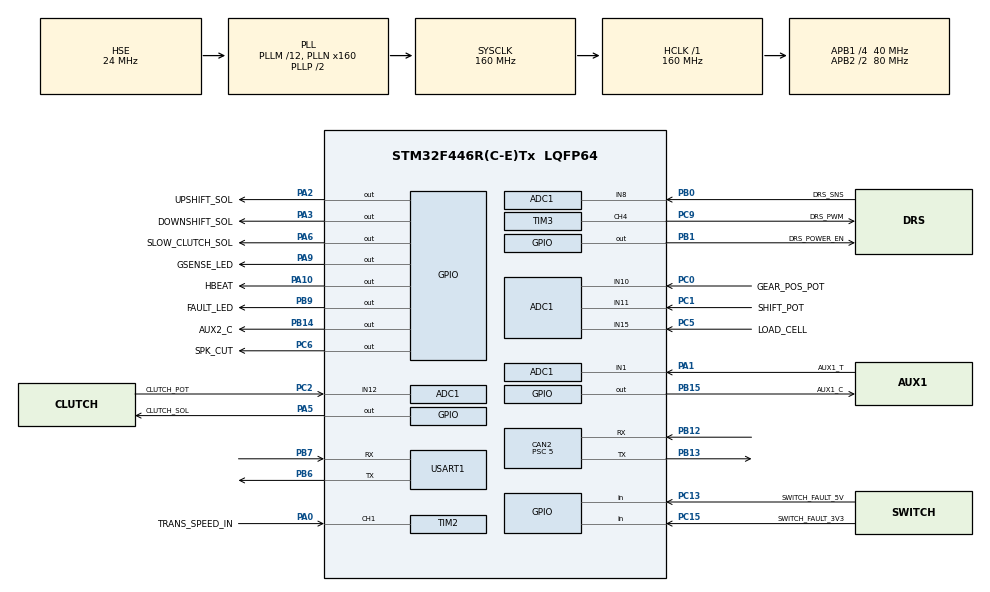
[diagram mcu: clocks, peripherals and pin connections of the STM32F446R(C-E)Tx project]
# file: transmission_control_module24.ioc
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ADC1.Channel-4\#ChannelRegularConversion=ADC_CHANNEL_8
ADC1.Channel-5\#ChannelRegularConversion=ADC_CHANNEL_10
ADC1.Channel-6\#ChannelRegularConversion=ADC_CHANNEL_11
ADC1.Channel-7\#ChannelRegularConversion=ADC_CHANNEL_12
ADC1.Channel-8\#ChannelRegularConversion=ADC_CHANNEL_15
ADC1.ContinuousConvMode=ENABLE
ADC1.DMAContinuousRequests=ENABLE
ADC1.NbrOfConversion=5
ADC1.NbrOfConversionFlag=1
ADC1.Rank-4\#ChannelRegularConversion=1
ADC1.Rank-5\#ChannelRegularConversion=2
ADC1.Rank-6\#ChannelRegularConversion=3
ADC1.Rank-7\#ChannelRegularConversion=4
ADC1.Rank-8\#ChannelRegularConversion=5
ADC1.SamplingTime-4\#ChannelRegularConversion=ADC_SAMPLETIME_480CYCLES
ADC1.SamplingTime-5\#ChannelRegularConversion=ADC_SAMPLETIME_480CYCLES
ADC1.SamplingTime-6\#ChannelRegularConversion=ADC_SAMPLETIME_480CYCLES
ADC1.SamplingTime-7\#ChannelRegularConversion=ADC_SAMPLETIME_480CYCLES
ADC1.SamplingTime-8\#ChannelRegularConversion=ADC_SAMPLETIME_480CYCLES
ADC1.ScanConvMode=ENABLE
ADC1.master=1
CAN2.ABOM=ENABLE
CAN2.AWUM=ENABLE
CAN2.BS1=CAN_BS1_6TQ
CAN2.CalculateBaudRate=1000000
CAN2.CalculateTimeBit=1000
CAN2.CalculateTimeQuantum=125.0
CAN2.Prescaler=5
Dma.ADC1.0.Direction=DMA_PERIPH_TO_MEMORY
Dma.ADC1.0.FIFOMode=DMA_FIFOMODE_DISABLE
Dma.ADC1.0.Instance=DMA2_Stream0
Dma.ADC1.0.MemDataAlignment=DMA_MDATAALIGN_HALFWORD
Dma.ADC1.0.MemInc=DMA_MINC_ENABLE
Dma.ADC1.0.Mode=DMA_CIRCULAR
Dma.ADC1.0.PeriphDataAlignment=DMA_PDATAALIGN_HALFWORD
Dma.ADC1.0.PeriphInc=DMA_PINC_DISABLE
Dma.ADC1.0.Priority=DMA_PRIORITY_LOW
Dma.Request0=ADC1
Dma.Request1=TIM2_CH1
Dma.TIM2_CH1.1.Direction=DMA_PERIPH_TO_MEMORY
Dma.TIM2_CH1.1.FIFOMode=DMA_FIFOMODE_DISABLE
Dma.TIM2_CH1.1.Instance=DMA1_Stream5
Dma.TIM2_CH1.1.MemDataAlignment=DMA_MDATAALIGN_WORD
Dma.TIM2_CH1.1.MemInc=DMA_MINC_ENABLE
Dma.TIM2_CH1.1.Mode=DMA_CIRCULAR
Dma.TIM2_CH1.1.PeriphDataAlignment=DMA_PDATAALIGN_WORD
Dma.TIM2_CH1.1.PeriphInc=DMA_PINC_DISABLE
Dma.TIM2_CH1.1.Priority=DMA_PRIORITY_LOW
FREERTOS.Tasks01=main_task,0,1024,task_MainTask,Default,NULL,Dynamic,NULL,NULL;buffer_handling,1,1024,task_BufferHandling,Default,NULL,Dynamic,NULL,NULL
FREERTOS.configENABLE_FPU=1
FREERTOS.configGENERATE_RUN_TIME_STATS=1
FREERTOS.configMINIMAL_STACK_SIZE=256
FREERTOS.configUSE_NEWLIB_REENTRANT=1
FREERTOS.configUSE_STATS_FORMATTING_FUNCTIONS=1
Mcu.Family=STM32F4
Mcu.Name=STM32F446R(C-E)Tx
Mcu.Package=LQFP64
NVIC.CAN2_RX0_IRQn=true\:5\:0\:false\:false\:true\:true\:true\:true\:true
NVIC.CAN2_RX1_IRQn=true\:5\:0\:false\:false\:true\:true\:true\:true\:true
NVIC.CAN2_TX_IRQn=true\:5\:0\:false\:false\:true\:true\:true\:true\:true
NVIC.DMA1_Stream5_IRQn=true\:5\:0\:false\:false\:true\:true\:false\:true\:true
NVIC.DMA2_Stream0_IRQn=true\:5\:0\:false\:false\:true\:true\:false\:true\:true
NVIC.PriorityGroup=NVIC_PRIORITYGROUP_4
NVIC.TIM1_UP_TIM10_IRQn=true\:5\:0\:false\:false\:true\:true\:true\:true\:true
NVIC.TIM6_DAC_IRQn=true\:15\:0\:false\:false\:true\:false\:false\:true\:true
NVIC.TimeBase=TIM6_DAC_IRQn
NVIC.TimeBaseIP=TIM6
PA0-WKUP.GPIO_Label=TRANS_SPEED_IN
PA0-WKUP.Signal=S_TIM2_CH1_ETR
PA1.GPIO_Label=AUX1_T
PA1.Signal=ADCx_IN1
PA10.GPIO_Label=HBEAT
PA10.Signal=GPIO_Output
PA2.GPIO_Label=UPSHIFT_SOL
PA2.Signal=GPIO_Output
PA3.GPIO_Label=DOWNSHIFT_SOL
PA3.Signal=GPIO_Output
PA5.GPIO_Label=CLUTCH_SOL
PA5.Signal=GPIO_Output
PA6.GPIO_Label=SLOW_CLUTCH_SOL
PA6.Signal=GPIO_Output
PA9.GPIO_Label=GSENSE_LED
PA9.Signal=GPIO_Output
PB0.GPIO_Label=DRS_SNS
PB0.Signal=ADCx_IN8
PB1.GPIO_Label=DRS_POWER_EN
PB1.Signal=GPIO_Output
PB12.Mode=CAN_Activate
PB12.Signal=CAN2_RX
PB13.Mode=CAN_Activate
PB13.Signal=CAN2_TX
PB14.GPIO_Label=AUX2_C
PB14.Signal=GPIO_Output
PB15.GPIO_Label=AUX1_C
PB15.Signal=GPIO_Output
PB6.Mode=Asynchronous
PB6.Signal=USART1_TX
PB7.Mode=Asynchronous
PB7.Signal=USART1_RX
PB9.GPIO_Label=FAULT_LED
PB9.Signal=GPIO_Output
PC0.GPIO_Label=GEAR_POS_POT
PC0.Signal=ADCx_IN10
PC1.GPIO_Label=SHIFT_POT
PC1.Signal=ADCx_IN11
PC13.GPIO_Label=SWITCH_FAULT_5V
PC13.Signal=GPIO_Input
PC15-OSC32_OUT.GPIO_Label=SWITCH_FAULT_3V3
PC15-OSC32_OUT.Signal=GPIO_Input
PC2.GPIO_Label=CLUTCH_POT
PC2.Signal=ADCx_IN12
PC5.GPIO_Label=LOAD_CELL
PC5.Signal=ADCx_IN15
PC6.GPIO_Label=SPK_CUT
PC6.Signal=GPIO_Output
PC9.GPIO_Label=DRS_PWM
PC9.Signal=S_TIM3_CH4
PH0-OSC_IN.Mode=HSE-External-Clock-Source
PH0-OSC_IN.Signal=RCC_OSC_IN
PH1-OSC_OUT.Mode=HSE-External-Clock-Source
PH1-OSC_OUT.Signal=RCC_OSC_OUT
ProjectManager.HeapSize=0x200
ProjectManager.StackSize=0x400
ProjectManager.TargetToolchain=STM32CubeIDE
RCC.AHBFreq_Value=160000000
RCC.APB1CLKDivider=RCC_HCLK_DIV4
RCC.APB1Freq_Value=40000000
RCC.APB1TimFreq_Value=80000000
RCC.APB2CLKDivider=RCC_HCLK_DIV2
RCC.APB2Freq_Value=80000000
RCC.APB2TimFreq_Value=160000000
RCC.CortexFreq_Value=160000000
RCC.HCLKFreq_Value=160000000
RCC.HSE_VALUE=24000000
RCC.PLLM=12
RCC.PLLN=160
RCC.PLLSourceVirtual=RCC_PLLSOURCE_HSE
RCC.SYSCLKFreq_VALUE=160000000
RCC.SYSCLKSource=RCC_SYSCLKSOURCE_PLLCLK
RCC.USBFreq_Value=160000000
RCC.VCOOutputFreq_Value=320000000
SH.ADCx_IN1.0=ADC1_IN1,IN1
SH.ADCx_IN10.0=ADC1_IN10,IN10
SH.ADCx_IN11.0=ADC1_IN11,IN11
SH.ADCx_IN12.0=ADC1_IN12,IN12
SH.ADCx_IN15.0=ADC1_IN15,IN15
SH.ADCx_IN8.0=ADC1_IN8,IN8
SH.S_TIM2_CH1_ETR.0=TIM2_CH1,Input_Capture1_from_TI1
SH.S_TIM3_CH4.0=TIM3_CH4,PWM Generation4 CH4
TIM11.Prescaler=16000-1
TIM2.Channel-Input_Capture1_from_TI1=TIM_CHANNEL_1
TIM2.Period=0xffffffff
TIM2.Prescaler=8-1
TIM3.Channel-PWM\ Generation4\ CH4=TIM_CHANNEL_4
TIM3.Period=29999
TIM3.Prescaler=8-1
USART1.VirtualMode=VM_ASYNC
VP_FREERTOS_VS_CMSIS_V1.Mode=CMSIS_V1
VP_SYS_VS_tim6.Mode=TIM6
VP_TIM10_VS_ClockSourceINT.Mode=Enable_Timer
VP_TIM11_VS_ClockSourceINT.Mode=Enable_Timer
VP_TIM2_VS_ClockSourceINT.Mode=Internal
board=custom

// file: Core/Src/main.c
/* USER CODE BEGIN Header */
/**
  ******************************************************************************
  * @file           : main.c
  * @brief          : Main program body
  ******************************************************************************
  * @attention
  *
  * Copyright (c) 2022 STMicroelectronics.
  * All rights reserved.
  *
  * This software is licensed under terms that can be found in the LICENSE file
  * in the root directory of this software component.
  * If no LICENSE file comes with this software, it is provided AS-IS.
  *
  ******************************************************************************
  */
/* USER CODE END Header */
#include "main.h"
#include "cmsis_os.h"

/* USER CODE BEGIN Includes */
#include "gopher_sense.h"
#include "main_task.h"
#include "utils.h"
#include <stdbool.h>
#include "pulse_sensor.h"
#include "drs.h"
/* USER CODE END Includes */

/* USER CODE BEGIN PD */

#define IC_TIMER &htim2
#define HDMA_CHANNEL 1
#define IC_CONVERSION_RATIO 2.0f //(X pulses / 1 sec) * (60 sec / 1 min) * (1 rev / 30 pulses) = RPM, so conversion ration would be 60/30 = 2.
#define DMA_STOPPED_TIMEOUT_MS 1000
#define USE_VAR_SS true
#define IC_LOW_SAMPLES 100
#define IC_HIGH_SAMPLES 1000
#define MIN_SAMPLES 5

/* USER CODE END PD */

ADC_HandleTypeDef hadc1;
DMA_HandleTypeDef hdma_adc1;

CAN_HandleTypeDef hcan2;

TIM_HandleTypeDef htim2;
TIM_HandleTypeDef htim3;
TIM_HandleTypeDef htim10;
TIM_HandleTypeDef htim11;
DMA_HandleTypeDef hdma_tim2_ch1;

UART_HandleTypeDef huart1;

osThreadId main_taskHandle;
osThreadId buffer_handlingHandle;

void SystemClock_Config(void);
static void MX_GPIO_Init(void);
static void MX_DMA_Init(void);
static void MX_ADC1_Init(void);
static void MX_TIM10_Init(void);
static void MX_USART1_UART_Init(void);
static void MX_TIM2_Init(void);
static void MX_TIM11_Init(void);
static void MX_CAN2_Init(void);
static void MX_TIM3_Init(void);
void task_MainTask(void const * argument);
void task_BufferHandling(void const * argument);

/* USER CODE BEGIN 0 */
#ifdef __GNUC__
#define PUTCHAR_PROTOTYPE int __io_putchar(int ch)
#else
#define PUTCHAR_PROTOTYPE int fputc(int ch, FILE *f)
#endif

PUTCHAR_PROTOTYPE
{
  HAL_UART_Transmit(&huart1, (uint8_t *)&ch, 1, HAL_MAX_DELAY);
  return ch;
}

void configureTimerForRunTimeStats(void)
{
	__HAL_TIM_SET_COUNTER(&htim11, 0);
}

unsigned long getRunTimeCounterValue(void)
{
	return (__HAL_TIM_GET_COUNTER(&htim11));
}
/* USER CODE END 0 */

int main(void)
{

  /* MCU Configuration--------------------------------------------------------*/

  /* Reset of all peripherals, Initializes the Flash interface and the Systick. */
  HAL_Init();

  /* Configure the system clock */
  SystemClock_Config();

  /* USER CODE BEGIN SysInit */
  MX_DMA_Init();
  /* USER CODE END SysInit */

  /* Initialize all configured peripherals */
  MX_GPIO_Init();
  MX_DMA_Init();
  MX_ADC1_Init();
  MX_TIM10_Init();
  MX_USART1_UART_Init();
  MX_TIM2_Init();
  MX_TIM11_Init();
  MX_CAN2_Init();
  MX_TIM3_Init();
  /* USER CODE BEGIN 2 */
  HAL_TIM_Base_Start(&htim11);
  //HAL_TIM_Base_Start(&htim2);
  init(&hcan2);
  gsense_init(&hcan2, &hadc1, NULL/*&hadc2*/, NULL, &htim10, GSENSE_LED_GPIO_Port, GSENSE_LED_Pin);
  setup_pulse_sensor_vss(
		  IC_TIMER,
 		  TIM_CHANNEL_1,
 		  IC_CONVERSION_RATIO,
 		  &(tcm_data.trans_speed),
		  DMA_STOPPED_TIMEOUT_MS,
 		  USE_VAR_SS,
 		  IC_LOW_SAMPLES,
 		  IC_HIGH_SAMPLES,
		  MIN_SAMPLES,
		  64
   );

  //DRS Setup:
  init_DRS_servo(&htim3, TIM_CHANNEL_4);

  // Set initial output states to low because of strange behavior when this doesn't happen and pins go through the 3V3 to 5V converter.
  HAL_GPIO_WritePin(SPK_CUT_GPIO_Port, SPK_CUT_Pin, 1);
  HAL_GPIO_WritePin(CLUTCH_SOL_GPIO_Port, CLUTCH_SOL_Pin, 0);
  HAL_GPIO_WritePin(SLOW_CLUTCH_SOL_GPIO_Port, SLOW_CLUTCH_SOL_Pin, 0);
  HAL_GPIO_WritePin(DOWNSHIFT_SOL_GPIO_Port, DOWNSHIFT_SOL_Pin, 0);
  HAL_GPIO_WritePin(UPSHIFT_SOL_GPIO_Port, UPSHIFT_SOL_Pin, 0);
  HAL_GPIO_WritePin(FAULT_LED_GPIO_Port, FAULT_LED_Pin, 0);
  HAL_GPIO_WritePin(AUX1_C_GPIO_Port, AUX1_C_Pin, 0);
  HAL_GPIO_WritePin(AUX2_C_GPIO_Port, AUX2_C_Pin, 0);
  HAL_GPIO_WritePin(AUX1_T_GPIO_Port, AUX1_T_Pin, 0);

  /* USER CODE END 2 */

  /* Create the thread(s) */
  /* definition and creation of main_task */
  osThreadDef(main_task, task_MainTask, osPriorityNormal, 0, 1024);
  main_taskHandle = osThreadCreate(osThread(main_task), NULL);

  /* definition and creation of buffer_handling */
  osThreadDef(buffer_handling, task_BufferHandling, osPriorityAboveNormal, 0, 1024);
  buffer_handlingHandle = osThreadCreate(osThread(buffer_handling), NULL);

  /* Start scheduler */
  osKernelStart();

  /* We should never get here as control is now taken by the scheduler */
  /* Infinite loop */
  while (1)
  {

  }
}

void SystemClock_Config(void)
{
  RCC_OscInitTypeDef RCC_OscInitStruct = {0};
  RCC_ClkInitTypeDef RCC_ClkInitStruct = {0};

  /** Configure the main internal regulator output voltage
  */
  __HAL_RCC_PWR_CLK_ENABLE();
  __HAL_PWR_VOLTAGESCALING_CONFIG(PWR_REGULATOR_VOLTAGE_SCALE1);

  /** Initializes the RCC Oscillators according to the specified parameters
  * in the RCC_OscInitTypeDef structure.
  */
  RCC_OscInitStruct.OscillatorType = RCC_OSCILLATORTYPE_HSE;
  RCC_OscInitStruct.HSEState = RCC_HSE_BYPASS;
  RCC_OscInitStruct.PLL.PLLState = RCC_PLL_ON;
  RCC_OscInitStruct.PLL.PLLSource = RCC_PLLSOURCE_HSE;
  RCC_OscInitStruct.PLL.PLLM = 12;
  RCC_OscInitStruct.PLL.PLLN = 160;
  RCC_OscInitStruct.PLL.PLLP = RCC_PLLP_DIV2;
  RCC_OscInitStruct.PLL.PLLQ = 2;
  RCC_OscInitStruct.PLL.PLLR = 2;
  if (HAL_RCC_OscConfig(&RCC_OscInitStruct) != HAL_OK)
  {
    Error_Handler();
  }

  /** Initializes the CPU, AHB and APB buses clocks
  */
  RCC_ClkInitStruct.ClockType = RCC_CLOCKTYPE_HCLK|RCC_CLOCKTYPE_SYSCLK
                              |RCC_CLOCKTYPE_PCLK1|RCC_CLOCKTYPE_PCLK2;
  RCC_ClkInitStruct.SYSCLKSource = RCC_SYSCLKSOURCE_PLLCLK;
  RCC_ClkInitStruct.AHBCLKDivider = RCC_SYSCLK_DIV1;
  RCC_ClkInitStruct.APB1CLKDivider = RCC_HCLK_DIV4;
  RCC_ClkInitStruct.APB2CLKDivider = RCC_HCLK_DIV2;

  if (HAL_RCC_ClockConfig(&RCC_ClkInitStruct, FLASH_LATENCY_5) != HAL_OK)
  {
    Error_Handler();
  }
}

static void MX_ADC1_Init(void)
{

  ADC_ChannelConfTypeDef sConfig = {0};

  /** Configure the global features of the ADC (Clock, Resolution, Data Alignment and number of conversion)
  */
  hadc1.Instance = ADC1;
  hadc1.Init.ClockPrescaler = ADC_CLOCK_SYNC_PCLK_DIV4;
  hadc1.Init.Resolution = ADC_RESOLUTION_12B;
  hadc1.Init.ScanConvMode = ENABLE;
  hadc1.Init.ContinuousConvMode = ENABLE;
  hadc1.Init.DiscontinuousConvMode = DISABLE;
  hadc1.Init.ExternalTrigConvEdge = ADC_EXTERNALTRIGCONVEDGE_NONE;
  hadc1.Init.ExternalTrigConv = ADC_SOFTWARE_START;
  hadc1.Init.DataAlign = ADC_DATAALIGN_RIGHT;
  hadc1.Init.NbrOfConversion = 5;
  hadc1.Init.DMAContinuousRequests = ENABLE;
  hadc1.Init.EOCSelection = ADC_EOC_SINGLE_CONV;
  if (HAL_ADC_Init(&hadc1) != HAL_OK)
  {
    Error_Handler();
  }

  /** Configure for the selected ADC regular channel its corresponding rank in the sequencer and its sample time.
  */
  sConfig.Channel = ADC_CHANNEL_8;
  sConfig.Rank = 1;
  sConfig.SamplingTime = ADC_SAMPLETIME_480CYCLES;
  if (HAL_ADC_ConfigChannel(&hadc1, &sConfig) != HAL_OK)
  {
    Error_Handler();
  }

  /** Configure for the selected ADC regular channel its corresponding rank in the sequencer and its sample time.
  */
  sConfig.Channel = ADC_CHANNEL_10;
  sConfig.Rank = 2;
  if (HAL_ADC_ConfigChannel(&hadc1, &sConfig) != HAL_OK)
  {
    Error_Handler();
  }

  /** Configure for the selected ADC regular channel its corresponding rank in the sequencer and its sample time.
  */
  sConfig.Channel = ADC_CHANNEL_11;
  sConfig.Rank = 3;
  if (HAL_ADC_ConfigChannel(&hadc1, &sConfig) != HAL_OK)
  {
    Error_Handler();
  }

  /** Configure for the selected ADC regular channel its corresponding rank in the sequencer and its sample time.
  */
  sConfig.Channel = ADC_CHANNEL_12;
  sConfig.Rank = 4;
  if (HAL_ADC_ConfigChannel(&hadc1, &sConfig) != HAL_OK)
  {
    Error_Handler();
  }

  /** Configure for the selected ADC regular channel its corresponding rank in the sequencer and its sample time.
  */
  sConfig.Channel = ADC_CHANNEL_15;
  sConfig.Rank = 5;
  if (HAL_ADC_ConfigChannel(&hadc1, &sConfig) != HAL_OK)
  {
    Error_Handler();
  }

}

static void MX_CAN2_Init(void)
{

  hcan2.Instance = CAN2;
  hcan2.Init.Prescaler = 5;
  hcan2.Init.Mode = CAN_MODE_NORMAL;
  hcan2.Init.SyncJumpWidth = CAN_SJW_1TQ;
  hcan2.Init.TimeSeg1 = CAN_BS1_6TQ;
  hcan2.Init.TimeSeg2 = CAN_BS2_1TQ;
  hcan2.Init.TimeTriggeredMode = DISABLE;
  hcan2.Init.AutoBusOff = ENABLE;
  hcan2.Init.AutoWakeUp = ENABLE;
  hcan2.Init.AutoRetransmission = DISABLE;
  hcan2.Init.ReceiveFifoLocked = DISABLE;
  hcan2.Init.TransmitFifoPriority = DISABLE;
  if (HAL_CAN_Init(&hcan2) != HAL_OK)
  {
    Error_Handler();
  }

}

static void MX_TIM2_Init(void)
{

  TIM_ClockConfigTypeDef sClockSourceConfig = {0};
  TIM_MasterConfigTypeDef sMasterConfig = {0};
  TIM_IC_InitTypeDef sConfigIC = {0};

  htim2.Instance = TIM2;
  htim2.Init.Prescaler = 8-1;
  htim2.Init.CounterMode = TIM_COUNTERMODE_UP;
  htim2.Init.Period = 0xffffffff;
  htim2.Init.ClockDivision = TIM_CLOCKDIVISION_DIV1;
  htim2.Init.AutoReloadPreload = TIM_AUTORELOAD_PRELOAD_DISABLE;
  if (HAL_TIM_Base_Init(&htim2) != HAL_OK)
  {
    Error_Handler();
  }
  sClockSourceConfig.ClockSource = TIM_CLOCKSOURCE_INTERNAL;
  if (HAL_TIM_ConfigClockSource(&htim2, &sClockSourceConfig) != HAL_OK)
  {
    Error_Handler();
  }
  if (HAL_TIM_IC_Init(&htim2) != HAL_OK)
  {
    Error_Handler();
  }
  sMasterConfig.MasterOutputTrigger = TIM_TRGO_RESET;
  sMasterConfig.MasterSlaveMode = TIM_MASTERSLAVEMODE_DISABLE;
  if (HAL_TIMEx_MasterConfigSynchronization(&htim2, &sMasterConfig) != HAL_OK)
  {
    Error_Handler();
  }
  sConfigIC.ICPolarity = TIM_INPUTCHANNELPOLARITY_RISING;
  sConfigIC.ICSelection = TIM_ICSELECTION_DIRECTTI;
  sConfigIC.ICPrescaler = TIM_ICPSC_DIV1;
  sConfigIC.ICFilter = 0;
  if (HAL_TIM_IC_ConfigChannel(&htim2, &sConfigIC, TIM_CHANNEL_1) != HAL_OK)
  {
    Error_Handler();
  }

}

static void MX_TIM3_Init(void)
{

  TIM_MasterConfigTypeDef sMasterConfig = {0};
  TIM_OC_InitTypeDef sConfigOC = {0};

  htim3.Instance = TIM3;
  htim3.Init.Prescaler = 8-1;
  htim3.Init.CounterMode = TIM_COUNTERMODE_UP;
  htim3.Init.Period = 29999;
  htim3.Init.ClockDivision = TIM_CLOCKDIVISION_DIV1;
  htim3.Init.AutoReloadPreload = TIM_AUTORELOAD_PRELOAD_DISABLE;
  if (HAL_TIM_PWM_Init(&htim3) != HAL_OK)
  {
    Error_Handler();
  }
  sMasterConfig.MasterOutputTrigger = TIM_TRGO_RESET;
  sMasterConfig.MasterSlaveMode = TIM_MASTERSLAVEMODE_DISABLE;
  if (HAL_TIMEx_MasterConfigSynchronization(&htim3, &sMasterConfig) != HAL_OK)
  {
    Error_Handler();
  }
  sConfigOC.OCMode = TIM_OCMODE_PWM1;
  sConfigOC.Pulse = 0;
  sConfigOC.OCPolarity = TIM_OCPOLARITY_HIGH;
  sConfigOC.OCFastMode = TIM_OCFAST_DISABLE;
  if (HAL_TIM_PWM_ConfigChannel(&htim3, &sConfigOC, TIM_CHANNEL_4) != HAL_OK)
  {
    Error_Handler();
  }
  HAL_TIM_MspPostInit(&htim3);

}

static void MX_TIM10_Init(void)
{

  htim10.Instance = TIM10;
  htim10.Init.Prescaler = 0;
  htim10.Init.CounterMode = TIM_COUNTERMODE_UP;
  htim10.Init.Period = 65535;
  htim10.Init.ClockDivision = TIM_CLOCKDIVISION_DIV1;
  htim10.Init.AutoReloadPreload = TIM_AUTORELOAD_PRELOAD_DISABLE;
  if (HAL_TIM_Base_Init(&htim10) != HAL_OK)
  {
    Error_Handler();
  }

}

static void MX_TIM11_Init(void)
{

  htim11.Instance = TIM11;
  htim11.Init.Prescaler = 16000-1;
  htim11.Init.CounterMode = TIM_COUNTERMODE_UP;
  htim11.Init.Period = 65535;
  htim11.Init.ClockDivision = TIM_CLOCKDIVISION_DIV1;
  htim11.Init.AutoReloadPreload = TIM_AUTORELOAD_PRELOAD_DISABLE;
  if (HAL_TIM_Base_Init(&htim11) != HAL_OK)
  {
    Error_Handler();
  }

}

static void MX_USART1_UART_Init(void)
{

  huart1.Instance = USART1;
  huart1.Init.BaudRate = 115200;
  huart1.Init.WordLength = UART_WORDLENGTH_8B;
  huart1.Init.StopBits = UART_STOPBITS_1;
  huart1.Init.Parity = UART_PARITY_NONE;
  huart1.Init.Mode = UART_MODE_TX_RX;
  huart1.Init.HwFlowCtl = UART_HWCONTROL_NONE;
  huart1.Init.OverSampling = UART_OVERSAMPLING_16;
  if (HAL_UART_Init(&huart1) != HAL_OK)
  {
    Error_Handler();
  }

}

static void MX_DMA_Init(void)
{

  /* DMA controller clock enable */
  __HAL_RCC_DMA2_CLK_ENABLE();
  __HAL_RCC_DMA1_CLK_ENABLE();

  /* DMA interrupt init */
  /* DMA1_Stream5_IRQn interrupt configuration */
  HAL_NVIC_SetPriority(DMA1_Stream5_IRQn, 5, 0);
  HAL_NVIC_EnableIRQ(DMA1_Stream5_IRQn);
  /* DMA2_Stream0_IRQn interrupt configuration */
  HAL_NVIC_SetPriority(DMA2_Stream0_IRQn, 5, 0);
  HAL_NVIC_EnableIRQ(DMA2_Stream0_IRQn);

}

static void MX_GPIO_Init(void)
{
  GPIO_InitTypeDef GPIO_InitStruct = {0};

  /* GPIO Ports Clock Enable */
  __HAL_RCC_GPIOC_CLK_ENABLE();
  __HAL_RCC_GPIOH_CLK_ENABLE();
  __HAL_RCC_GPIOA_CLK_ENABLE();
  __HAL_RCC_GPIOB_CLK_ENABLE();

  /*Configure GPIO pin Output Level */
  HAL_GPIO_WritePin(GPIOA, UPSHIFT_SOL_Pin|DOWNSHIFT_SOL_Pin|CLUTCH_SOL_Pin|SLOW_CLUTCH_SOL_Pin
                          |GSENSE_LED_Pin|HBEAT_Pin, GPIO_PIN_RESET);

  /*Configure GPIO pin Output Level */
  HAL_GPIO_WritePin(GPIOB, DRS_POWER_EN_Pin|AUX2_C_Pin|AUX1_C_Pin|FAULT_LED_Pin, GPIO_PIN_RESET);

  /*Configure GPIO pin Output Level */
  HAL_GPIO_WritePin(SPK_CUT_GPIO_Port, SPK_CUT_Pin, GPIO_PIN_RESET);

  /*Configure GPIO pins : SWITCH_FAULT_5V_Pin SWITCH_FAULT_3V3_Pin */
  GPIO_InitStruct.Pin = SWITCH_FAULT_5V_Pin|SWITCH_FAULT_3V3_Pin;
  GPIO_InitStruct.Mode = GPIO_MODE_INPUT;
  GPIO_InitStruct.Pull = GPIO_NOPULL;
  HAL_GPIO_Init(GPIOC, &GPIO_InitStruct);

  /*Configure GPIO pins : UPSHIFT_SOL_Pin DOWNSHIFT_SOL_Pin CLUTCH_SOL_Pin SLOW_CLUTCH_SOL_Pin
                           GSENSE_LED_Pin HBEAT_Pin */
  GPIO_InitStruct.Pin = UPSHIFT_SOL_Pin|DOWNSHIFT_SOL_Pin|CLUTCH_SOL_Pin|SLOW_CLUTCH_SOL_Pin
                          |GSENSE_LED_Pin|HBEAT_Pin;
  GPIO_InitStruct.Mode = GPIO_MODE_OUTPUT_PP;
  GPIO_InitStruct.Pull = GPIO_NOPULL;
  GPIO_InitStruct.Speed = GPIO_SPEED_FREQ_LOW;
  HAL_GPIO_Init(GPIOA, &GPIO_InitStruct);

  /*Configure GPIO pins : DRS_POWER_EN_Pin AUX2_C_Pin AUX1_C_Pin FAULT_LED_Pin */
  GPIO_InitStruct.Pin = DRS_POWER_EN_Pin|AUX2_C_Pin|AUX1_C_Pin|FAULT_LED_Pin;
  GPIO_InitStruct.Mode = GPIO_MODE_OUTPUT_PP;
  GPIO_InitStruct.Pull = GPIO_NOPULL;
  GPIO_InitStruct.Speed = GPIO_SPEED_FREQ_LOW;
  HAL_GPIO_Init(GPIOB, &GPIO_InitStruct);

  /*Configure GPIO pin : SPK_CUT_Pin */
  GPIO_InitStruct.Pin = SPK_CUT_Pin;
  GPIO_InitStruct.Mode = GPIO_MODE_OUTPUT_PP;
  GPIO_InitStruct.Pull = GPIO_NOPULL;
  GPIO_InitStruct.Speed = GPIO_SPEED_FREQ_LOW;
  HAL_GPIO_Init(SPK_CUT_GPIO_Port, &GPIO_InitStruct);

}

void task_MainTask(void const * argument)
{
  /* USER CODE BEGIN 5 */
  /* Infinite loop */
  for(;;)
  {
	  main_loop();
    osDelay(1);
  }
  /* USER CODE END 5 */
}

void task_BufferHandling(void const * argument)
{
  /* USER CODE BEGIN task_BufferHandling */
  /* Infinite loop */
  for(;;)
  {
	  can_buffer_handling_loop();
    osDelay(1);
  }
  /* USER CODE END task_BufferHandling */
}

void HAL_TIM_PeriodElapsedCallback(TIM_HandleTypeDef *htim)
{
  if (htim->Instance == TIM6) {
    HAL_IncTick();
  }
  /* USER CODE BEGIN Callback 1 */
  else
  {
	  DAQ_TimerCallback(htim);
  }
  /* USER CODE END Callback 1 */
}

void Error_Handler(void)
{
  __disable_irq();
  while (1)
  {
  }
}
